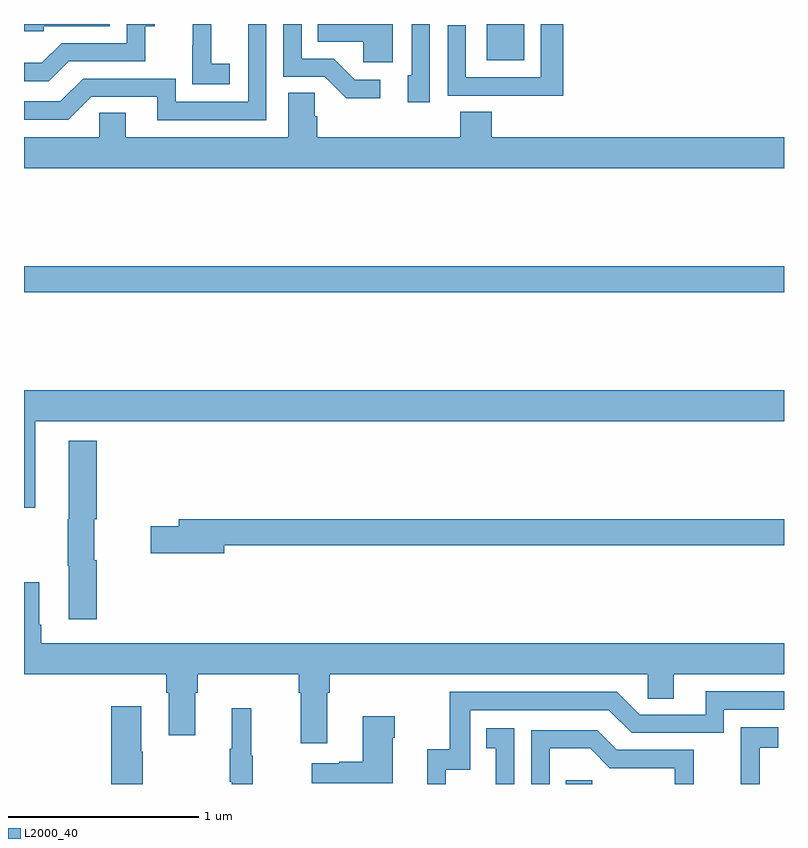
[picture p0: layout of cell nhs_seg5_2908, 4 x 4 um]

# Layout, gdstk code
import gdstk
lib = gdstk.Library(unit=1e-6, precision=1e-09)
def R(c, l, rs):  # rectangles x0, y0, x1, y1
    for r in rs: c.add(gdstk.rectangle(r[:2], r[2:], *l))
def P(c, l, *ps):  # polygons
    for p in ps: c.add(gdstk.Polygon(p, *l))
L2000_40 = (2000, 40)

nhs_seg5_2908 = lib.new_cell('nhs_seg5_2908')
R(nhs_seg5_2908, L2000_40, [(281.851,906.799,281.991,906.819), (279,909.388,283,909.524), (281.435,910.607,281.632,910.799)])
P(nhs_seg5_2908, L2000_40, [(281.837,910.799),(281.721,910.799),(281.721,910.518),(281.325,910.518),(281.325,910.792),(281.229,910.792),(281.229,910.422),(281.545,910.422),(281.545,910.421),(281.837,910.421)],
  [(279.235,910.602),(279.639,910.602),(279.639,910.787),(279.688,910.787),(279.688,910.799),(279.54,910.799),(279.54,910.698),(279.198,910.698),(279.094,910.594),(279,910.594),(279,910.497),(279.13,910.497)],
  [(280.084,910.591),(279.986,910.591),(279.986,910.799),(279.887,910.799),(279.887,910.687),(279.886,910.687),(279.886,910.481),(280.084,910.481)],
  [(279.105,910.788),(279.45,910.788),(279.45,910.799),(279,910.799),(279,910.761),(279.105,910.761)],
  [(280.876,910.506),(280.741,910.506),(280.63,910.617),(280.461,910.617),(280.461,910.799),(280.365,910.799),(280.365,910.521),(280.584,910.521),(280.697,910.409),(280.876,910.409)],
  [(280.942,910.799),(280.546,910.799),(280.546,910.706),(280.785,910.706),(280.785,910.598),(280.942,910.598)],
  [(280.275,910.799),(280.179,910.799),(280.179,910.389),(279.798,910.389),(279.798,910.512),(279.312,910.512),(279.192,910.392),(279,910.392),(279,910.296),(279.234,910.296),(279.354,910.416),(279.701,910.416),(279.701,910.293),(280.275,910.293)],
  [(281.136,910.799),(281.04,910.799),(281.04,910.53),(281.021,910.53),(281.021,910.386),(281.136,910.386)],
  [(283,910.204),(281.462,910.204),(281.462,910.337),(281.297,910.337),(281.297,910.204),(280.544,910.204),(280.544,910.313),(280.53,910.313),(280.53,910.436),(280.391,910.436),(280.391,910.204),(279.535,910.204),(279.535,910.331),(279.396,910.331),(279.396,910.204),(279,910.204),(279,910.04),(283,910.04)],
  [(279,908.253),(279.058,908.253),(279.058,908.708),(283,908.708),(283,908.872),(279,908.872)],
  [(279.383,907.977),(279.37,907.977),(279.37,908.192),(279.383,908.192),(279.383,908.605),(279.236,908.605),(279.236,908.192),(279.229,908.192),(279.229,907.948),(279.236,907.948),(279.236,907.665),(279.383,907.665)],
  [(280.054,908.056),(283,908.056),(283,908.192),(279.815,908.192),(279.815,908.156),(279.666,908.156),(279.666,908.014),(280.054,908.014)],
  [(280.597,907.28),(280.61,907.28),(280.61,907.376),(282.282,907.376),(282.282,907.249),(282.421,907.249),(282.421,907.376),(283,907.376),(283,907.54),(279.092,907.54),(279.092,907.636),(279.079,907.636),(279.079,907.861),(279,907.861),(279,907.376),(279.749,907.376),(279.749,907.28),(279.761,907.28),(279.761,907.056),(279.901,907.056),(279.901,907.28),(279.914,907.28),(279.914,907.376),(280.445,907.376),(280.445,907.28),(280.457,907.28),(280.457,907.014),(280.597,907.014)],
  [(281.22,906.873),(281.349,906.873),(281.349,907.188),(282.078,907.188),(282.198,907.068),(282.684,907.068),(282.684,907.191),(283,907.191),(283,907.287),(282.587,907.287),(282.587,907.164),(282.24,907.164),(282.12,907.284),(281.241,907.284),(281.241,906.982),(281.123,906.982),(281.123,906.799),(281.22,906.799)],
  [(279.624,906.968),(279.616,906.968),(279.616,907.207),(279.458,907.207),(279.458,906.799),(279.624,906.799)],
  [(280.204,906.948),(280.196,906.948),(280.196,907.198),(280.094,907.198),(280.094,906.985),(280.083,906.985),(280.083,906.811),(280.094,906.811),(280.094,906.799),(280.204,906.799)],
  [(280.942,907.043),(280.95,907.043),(280.95,907.156),(280.784,907.156),(280.784,906.917),(280.658,906.917),(280.658,906.907),(280.515,906.907),(280.515,906.803),(280.942,906.803)],
  [(282.872,906.989),(282.97,906.989),(282.97,907.099),(282.772,907.099),(282.772,906.893),(282.773,906.893),(282.773,906.799),(282.872,906.799)],
  [(281.58,907.093),(281.434,907.093),(281.434,906.987),(281.483,906.987),(281.483,906.799),(281.58,906.799)],
  [(281.766,906.986),(281.98,906.986),(282.084,906.882),(282.426,906.882),(282.426,906.799),(282.525,906.799),(282.525,906.978),(282.121,906.978),(282.016,907.083),(281.67,907.083),(281.67,906.799),(281.766,906.799)])

lib.write_gds('nhs_seg5_2908.gds')
